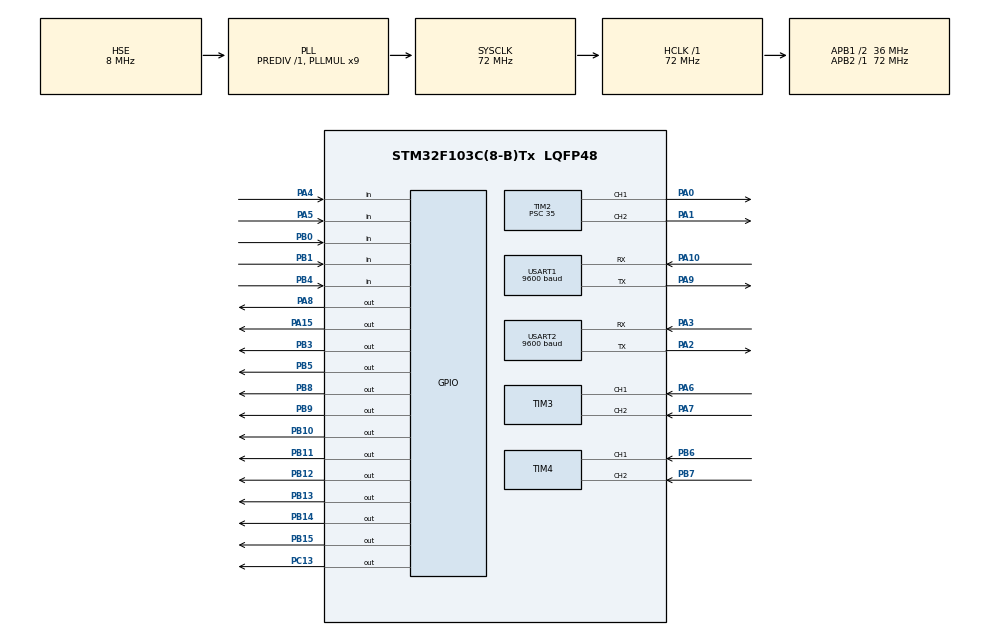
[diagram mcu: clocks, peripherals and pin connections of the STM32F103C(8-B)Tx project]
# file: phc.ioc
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FREERTOS.Tasks01=defaultTask,24,128,StartDefaultTask,Default,NULL,Dynamic,NULL,NULL
FREERTOS.configTOTAL_HEAP_SIZE=8092
Mcu.Family=STM32F1
Mcu.Name=STM32F103C(8-B)Tx
Mcu.Package=LQFP48
NVIC.PriorityGroup=NVIC_PRIORITYGROUP_4
NVIC.TIM1_UP_IRQn=true\:15\:0\:false\:false\:true\:false\:false\:true\:true
NVIC.TimeBase=TIM1_UP_IRQn
NVIC.TimeBaseIP=TIM1
NVIC.USART1_IRQn=true\:5\:0\:false\:false\:true\:true\:true\:true\:true
NVIC.USART2_IRQn=true\:5\:0\:false\:false\:true\:true\:true\:true\:true
PA0-WKUP.Signal=S_TIM2_CH1_ETR
PA1.Signal=S_TIM2_CH2
PA10.Mode=Asynchronous
PA10.Signal=USART1_RX
PA13.Mode=Serial_Wire
PA13.Signal=SYS_JTMS-SWDIO
PA14.Mode=Serial_Wire
PA14.Signal=SYS_JTCK-SWCLK
PA15.PinState=GPIO_PIN_SET
PA15.Signal=GPIO_Output
PA2.Mode=Asynchronous
PA2.Signal=USART2_TX
PA3.Mode=Asynchronous
PA3.Signal=USART2_RX
PA4.GPIO_PuPd=GPIO_PULLUP
PA4.Signal=GPIO_Input
PA5.GPIO_PuPd=GPIO_PULLUP
PA5.Signal=GPIO_Input
PA6.Signal=S_TIM3_CH1
PA7.Signal=S_TIM3_CH2
PA8.PinState=GPIO_PIN_RESET
PA8.Signal=GPIO_Output
PA9.Mode=Asynchronous
PA9.Signal=USART1_TX
PB0.GPIO_PuPd=GPIO_PULLUP
PB0.Signal=GPIO_Input
PB1.GPIO_PuPd=GPIO_PULLUP
PB1.Signal=GPIO_Input
PB10.GPIO_ModeDefaultOutputPP=GPIO_MODE_OUTPUT_OD
PB10.GPIO_PuPd=GPIO_PULLUP
PB10.PinState=GPIO_PIN_SET
PB10.Signal=GPIO_Output
PB11.GPIO_ModeDefaultOutputPP=GPIO_MODE_OUTPUT_OD
PB11.GPIO_PuPd=GPIO_PULLUP
PB11.PinState=GPIO_PIN_SET
PB11.Signal=GPIO_Output
PB12.Signal=GPIO_Output
PB13.Signal=GPIO_Output
PB14.Signal=GPIO_Output
PB15.Signal=GPIO_Output
PB3.Signal=GPIO_Output
PB4.GPIO_PuPd=GPIO_PULLUP
PB4.Signal=GPIO_Input
PB5.Signal=GPIO_Output
PB6.Signal=S_TIM4_CH1
PB7.Signal=S_TIM4_CH2
PB8.GPIO_ModeDefaultOutputPP=GPIO_MODE_OUTPUT_OD
PB8.GPIO_PuPd=GPIO_PULLUP
PB8.PinState=GPIO_PIN_SET
PB8.Signal=GPIO_Output
PB9.GPIO_ModeDefaultOutputPP=GPIO_MODE_OUTPUT_OD
PB9.GPIO_PuPd=GPIO_PULLUP
PB9.PinState=GPIO_PIN_SET
PB9.Signal=GPIO_Output
PC13-TAMPER-RTC.PinState=GPIO_PIN_SET
PC13-TAMPER-RTC.Signal=GPIO_Output
PD0-OSC_IN.Mode=HSE-External-Oscillator
PD0-OSC_IN.Signal=RCC_OSC_IN
PD1-OSC_OUT.Mode=HSE-External-Oscillator
PD1-OSC_OUT.Signal=RCC_OSC_OUT
ProjectManager.HeapSize=0x200
ProjectManager.StackSize=0x400
ProjectManager.TargetToolchain=MDK-ARM V5.32
RCC.AHBFreq_Value=72000000
RCC.APB1CLKDivider=RCC_HCLK_DIV2
RCC.APB1Freq_Value=36000000
RCC.APB1TimFreq_Value=72000000
RCC.APB2Freq_Value=72000000
RCC.APB2TimFreq_Value=72000000
RCC.HCLKFreq_Value=72000000
RCC.PLLMUL=RCC_PLL_MUL9
RCC.PLLSourceVirtual=RCC_PLLSOURCE_HSE
RCC.SYSCLKFreq_VALUE=72000000
RCC.SYSCLKSource=RCC_SYSCLKSOURCE_PLLCLK
RCC.USBFreq_Value=72000000
SH.S_TIM2_CH1_ETR.0=TIM2_CH1,PWM Generation1 CH1
SH.S_TIM2_CH2.0=TIM2_CH2,PWM Generation2 CH2
SH.S_TIM3_CH1.0=TIM3_CH1,Encoder_Interface
SH.S_TIM3_CH2.0=TIM3_CH2,Encoder_Interface
SH.S_TIM4_CH1.0=TIM4_CH1,Encoder_Interface
SH.S_TIM4_CH2.0=TIM4_CH2,Encoder_Interface
TIM2.AutoReloadPreload=TIM_AUTORELOAD_PRELOAD_ENABLE
TIM2.Channel-PWM\ Generation1\ CH1=TIM_CHANNEL_1
TIM2.Channel-PWM\ Generation2\ CH2=TIM_CHANNEL_2
TIM2.Period=99
TIM2.Prescaler=35
TIM3.AutoReloadPreload=TIM_AUTORELOAD_PRELOAD_ENABLE
TIM3.IC1Filter=15
TIM3.IC2Filter=15
TIM4.AutoReloadPreload=TIM_AUTORELOAD_PRELOAD_ENABLE
TIM4.IC1Filter=15
TIM4.IC2Filter=15
USART1.BaudRate=9600
USART1.VirtualMode=VM_ASYNC
USART2.BaudRate=9600
USART2.VirtualMode=VM_ASYNC
VP_FREERTOS_VS_CMSIS_V2.Mode=CMSIS_V2
VP_SYS_VS_tim1.Mode=TIM1
VP_TIM2_VS_ClockSourceINT.Mode=Internal
board=custom

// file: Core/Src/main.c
/* USER CODE BEGIN Header */
/**
  ******************************************************************************
  * @file           : main.c
  * @brief          : Main program body
  ******************************************************************************
  * @attention
  *
  * Copyright (c) 2026 STMicroelectronics.
  * All rights reserved.
  *
  * This software is licensed under terms that can be found in the LICENSE file
  * in the root directory of this software component.
  * If no LICENSE file comes with this software, it is provided AS-IS.
  *
  ******************************************************************************
  */
/* USER CODE END Header */
#include "main.h"
#include "cmsis_os.h"
#include "tim.h"
#include "usart.h"
#include "gpio.h"

/* USER CODE BEGIN Includes */
#include "robot_state.h"
#include "BlueSerial.h"
#include "MPU6050.h"
#include "Motor.h"
#include "Encode.h"
#include "PID.h"
#include "Key.h"
#include "LED.h"
#include "OLED.h"
#include "Task1.h"
#include "Comm_Task.h"
#include "Control_Task.h"
#include "task.h"
/* USER CODE END Includes */

/* USER CODE BEGIN PV */
/* USER CODE BEGIN PV */
uint8_t Run_Flag = 0;

PID_t AnglePID = { .Kp=5, .Ki=0.1, .Kd=5, .OutMax=100, .OutMin=-100,
                   .OutOffset=4, .ErrorIntMax=600, .ErrorIntMin=-600 };
PID_t SpeedPID = { .Kp=3, .Ki=0.05, .Kd=0, .OutMax=20, .OutMin=-20,
                   .ErrorIntMax=150, .ErrorIntMin=-150 };
PID_t TurnPID  = { .Kp=4, .Ki=3, .Kd=0, .OutMax=50, .OutMin=-50,
                   .ErrorIntMax=20, .ErrorIntMin=-20 };

float Angle = 0;
float LeftSpeed = 0, RightSpeed = 0, AveSpeed = 0, DifSpeed = 0;
int16_t LeftPWM = 0, RightPWM = 0, AvePWM = 0, DifPWM = 0;
/* USER CODE END PV */

void SystemClock_Config(void);
void MX_FREERTOS_Init(void);

int main(void)
{

  /* MCU Configuration--------------------------------------------------------*/

  /* Reset of all peripherals, Initializes the Flash interface and the Systick. */
  HAL_Init();

  /* Configure the system clock */
  SystemClock_Config();

  /* Initialize all configured peripherals */
  MX_GPIO_Init();
  MX_USART1_UART_Init();
  MX_USART2_UART_Init();
  MX_TIM2_Init();
  MX_TIM3_Init();
  MX_TIM4_Init();
  /* USER CODE BEGIN 2 */
	MPU6050_Init();      // ⚠️ 挪到这里，HAL_Delay(300) 合法
    Motor_Init();
    Encoder_Init();
    if (MPU6050_Mailbox_Init() != pdPASS)
    {
      Error_Handler();
    }
  /* USER CODE END 2 */

  /* Init scheduler */
  osKernelInitialize();

  /* Call init function for freertos objects (in cmsis_os2.c) */
  MX_FREERTOS_Init();

  /* Start scheduler */
  if (xTaskCreate(Control_Task, "con", 256, NULL, 4, NULL) != pdPASS ||
      xTaskCreate(MPU6050_Task, "imu", 256, NULL, 3, NULL) != pdPASS)
  {
    Error_Handler();
  }
  if (xTaskCreate(Key_Task, "key", 128, NULL, 2, NULL) != pdPASS ||
      xTaskCreate(Comm_Task, "com", 512, NULL, 2, NULL) != pdPASS ||
      xTaskCreate(UI_Task, "ui", 512, NULL, 1, NULL) != pdPASS)
  {
    Error_Handler();
  }
  osKernelStart();

  /* We should never get here as control is now taken by the scheduler */

  /* Infinite loop */
  while (1)
  {

  }
}

void SystemClock_Config(void)
{
  RCC_OscInitTypeDef RCC_OscInitStruct = {0};
  RCC_ClkInitTypeDef RCC_ClkInitStruct = {0};

  /** Initializes the RCC Oscillators according to the specified parameters
  * in the RCC_OscInitTypeDef structure.
  */
  RCC_OscInitStruct.OscillatorType = RCC_OSCILLATORTYPE_HSE;
  RCC_OscInitStruct.HSEState = RCC_HSE_ON;
  RCC_OscInitStruct.HSEPredivValue = RCC_HSE_PREDIV_DIV1;
  RCC_OscInitStruct.HSIState = RCC_HSI_ON;
  RCC_OscInitStruct.PLL.PLLState = RCC_PLL_ON;
  RCC_OscInitStruct.PLL.PLLSource = RCC_PLLSOURCE_HSE;
  RCC_OscInitStruct.PLL.PLLMUL = RCC_PLL_MUL9;
  if (HAL_RCC_OscConfig(&RCC_OscInitStruct) != HAL_OK)
  {
    Error_Handler();
  }

  /** Initializes the CPU, AHB and APB buses clocks
  */
  RCC_ClkInitStruct.ClockType = RCC_CLOCKTYPE_HCLK|RCC_CLOCKTYPE_SYSCLK
                              |RCC_CLOCKTYPE_PCLK1|RCC_CLOCKTYPE_PCLK2;
  RCC_ClkInitStruct.SYSCLKSource = RCC_SYSCLKSOURCE_PLLCLK;
  RCC_ClkInitStruct.AHBCLKDivider = RCC_SYSCLK_DIV1;
  RCC_ClkInitStruct.APB1CLKDivider = RCC_HCLK_DIV2;
  RCC_ClkInitStruct.APB2CLKDivider = RCC_HCLK_DIV1;

  if (HAL_RCC_ClockConfig(&RCC_ClkInitStruct, FLASH_LATENCY_2) != HAL_OK)
  {
    Error_Handler();
  }
}

void HAL_TIM_PeriodElapsedCallback(TIM_HandleTypeDef *htim)
{
  if (htim->Instance == TIM1) {
    HAL_IncTick();
  }
}

void Error_Handler(void)
{
  __disable_irq();
  while (1)
  {
  }
}
